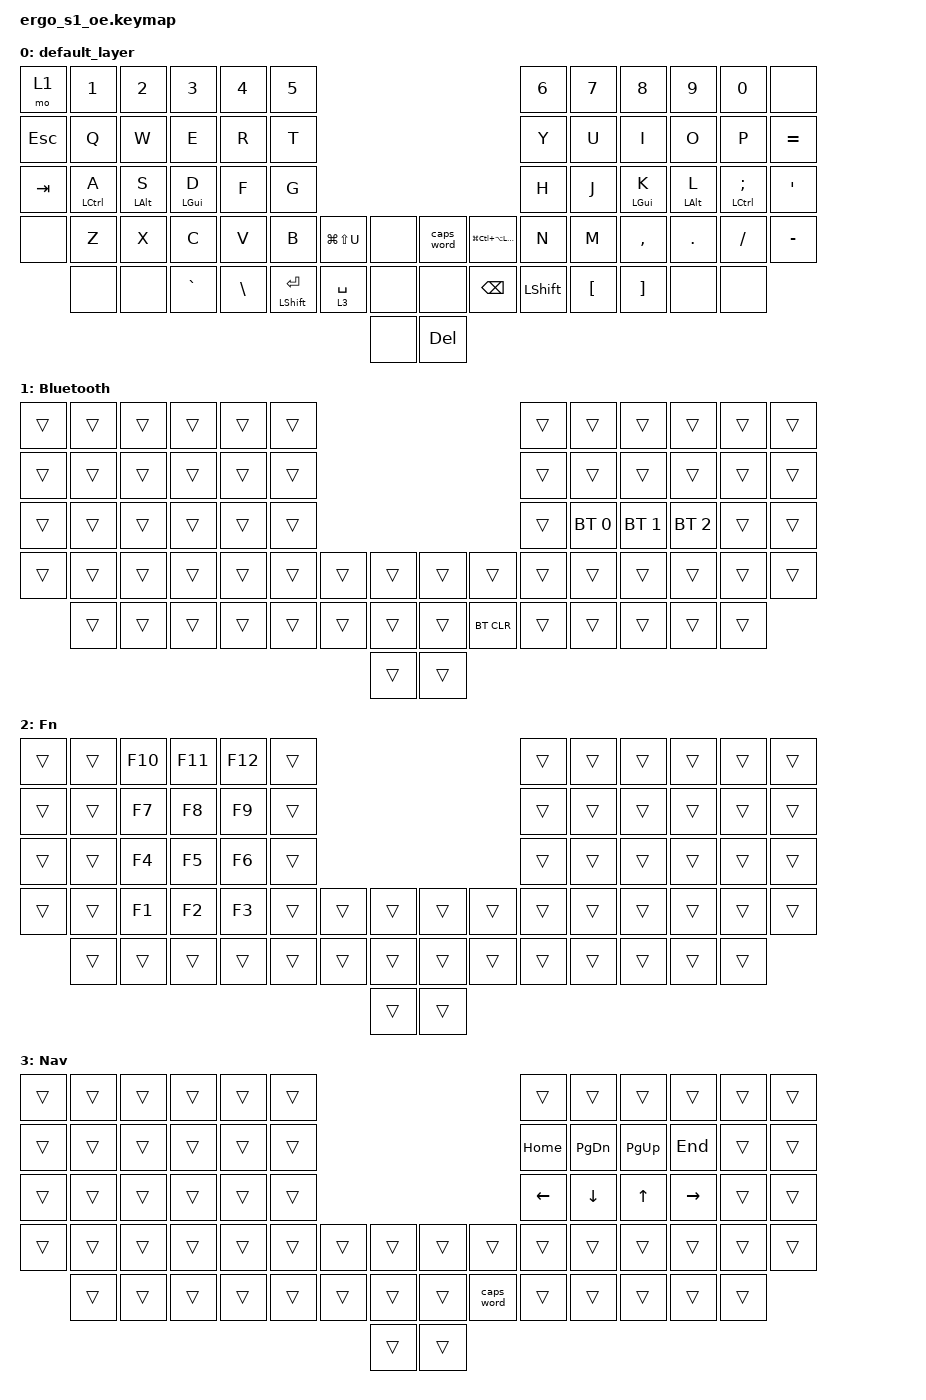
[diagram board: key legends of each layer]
/*
 * Copyright (c) 2021 The ZMK Contributors
 *
 * SPDX-License-Identifier: MIT
 */

#include <behaviors.dtsi>
#include <dt-bindings/zmk/bt.h>
#include <dt-bindings/zmk/keys.h>

#define DEFAULT 0
#define FN  1

/ {
    behaviors {
        hrl: hrl {
            compatible = "zmk,behavior-hold-tap";
            label = "HRL";
            bindings = <&kp>, <&kp>;

            #binding-cells = <2>;
            tapping-term-ms = <280>;
            quick-tap-ms = <175>;
            require-prior-idle-ms = <150>;
            flavor = "balanced";
            hold-trigger-on-release;
            hold-trigger-key-positions = <44 45 59 60 67 61 46 30 18 6 7 8 9 10 11 19 20 21 22 23 31 32 33 34 35 47 48 49 50 51 62 63 64 65 43 42 56 57 58 66>;
        };

        hrr: hrr {
            compatible = "zmk,behavior-hold-tap";
            label = "HRR";
            bindings = <&kp>, <&kp>;

            #binding-cells = <2>;
            tapping-term-ms = <280>;
            quick-tap-ms = <175>;
            require-prior-idle-ms = <150>;
            flavor = "balanced";
            hold-trigger-on-release;
            hold-trigger-key-positions = <0 1 2 3 4 5 12 13 14 15 16 17 24 25 26 27 28 29 36 37 38 39 40 41 42 43 52 53 54 55 56 57 58 66 44 45 60 61 67 59>;
        };

        bkspcapsword: bkspcapsword {
            compatible = "zmk,behavior-mod-morph";
            label = "BKSPCAPSWORD";
            bindings = <&lt 2 BACKSPACE>, <&caps_word>;

            #binding-cells = <0>;
            mods = <(MOD_LSFT|MOD_LGUI)>;
        };
    };

    keymap {
        compatible = "zmk,keymap";

        default_layer {
            // ---------------------------------------------------------------------------------------------------------------------------------
            // | ESC  |  1   |  2   |  3   |  4   |  5   |                                                   |  6   |  7   |  8   |  9   |  0   | BSPC |
            // | WIN  |  Q   |  W   |  E   |  R   |  T   |                                                   |  Y   |  U   |  I   |  O   |  P   | EQL  |
            // | TAB  |  A   |  S   |  D   |  F   |  G   |                                                   |  H   |  J   |  K   |  L   | SCLN | QUOT |
            // | LCTL |  Z   |  X   |  C   |  V   |  B   |      | CTL  | ALT  |         | CAPS | CTL  |      |  N   |  M   | COMM | DOT  | SLSH | MINS |
            //        | GRV  | BSLS | LEFT | RGHT |      | SHFT |  FN  | HOME |         | PGUP | ENT  | SPC  |      |  UP  |  DN  | LBKT | RBKT |
            //                                                         | END  |         | PGDN |

            bindings = <
&mo 1       &kp N1        &kp N2           &kp N3           &kp N4         &kp N5                                                                               &kp N6          &kp N7            &kp N8             &kp N9       &kp N0           &none
&kp ESCAPE  &kp Q         &kp W            &kp E            &kp R          &kp T                                                                                &kp Y           &kp U             &kp I              &kp O        &kp P            &kp EQUAL
&kp TAB     &hrl LCTRL A  &hrl LEFT_ALT S  &hrl LEFT_GUI D  &kp F          &kp G                                                                                &kp H           &kp J             &hrr LEFT_GUI K    &hrr LALT L  &hrr LCTRL SEMI  &kp SQT
&none       &kp Z         &kp X            &kp C            &kp V          &kp B                  &kp LG(LS(U))  &none  &caps_word  &kp LG(LC(LA(LEFT_SHIFT)))  &kp N           &kp M             &kp COMMA          &kp PERIOD   &kp SLASH        &kp MINUS
            &none         &none            &kp GRAVE        &kp BACKSLASH  &mt LEFT_SHIFT RETURN  &lt 3 SPACE    &none  &none       &kp BACKSPACE               &kp LEFT_SHIFT  &kp LEFT_BRACKET  &kp RIGHT_BRACKET  &none        &none
                                                                                                                 &none  &kp DELETE
            >;
        };

        Bluetooth {
            bindings = <
&trans  &trans  &trans  &trans  &trans  &trans                                      &trans  &trans        &trans        &trans        &trans  &trans
&trans  &trans  &trans  &trans  &trans  &trans                                      &trans  &trans        &trans        &trans        &trans  &trans
&trans  &trans  &trans  &trans  &trans  &trans                                      &trans  &bt BT_SEL 0  &bt BT_SEL 1  &bt BT_SEL 2  &trans  &trans
&trans  &trans  &trans  &trans  &trans  &trans  &trans  &trans  &trans  &trans      &trans  &trans        &trans        &trans        &trans  &trans
        &trans  &trans  &trans  &trans  &trans  &trans  &trans  &trans  &bt BT_CLR  &trans  &trans        &trans        &trans        &trans
                                                        &trans  &trans
            >;
        };

        Fn {
            bindings = <
&trans  &trans  &kp F10  &kp F11  &kp F12  &trans                                  &trans  &trans  &trans  &trans  &trans  &trans
&trans  &trans  &kp F7   &kp F8   &kp F9   &trans                                  &trans  &trans  &trans  &trans  &trans  &trans
&trans  &trans  &kp F4   &kp F5   &kp F6   &trans                                  &trans  &trans  &trans  &trans  &trans  &trans
&trans  &trans  &kp F1   &kp F2   &kp F3   &trans  &trans  &trans  &trans  &trans  &trans  &trans  &trans  &trans  &trans  &trans
        &trans  &trans   &trans   &trans   &trans  &trans  &trans  &trans  &trans  &trans  &trans  &trans  &trans  &trans
                                                           &trans  &trans
            >;
        };

        Nav {
            bindings = <
&trans  &trans  &trans  &trans  &trans  &trans                                      &trans    &trans     &trans     &trans     &trans  &trans
&trans  &trans  &trans  &trans  &trans  &trans                                      &kp HOME  &kp PG_DN  &kp PG_UP  &kp END    &trans  &trans
&trans  &trans  &trans  &trans  &trans  &trans                                      &kp LEFT  &kp DOWN   &kp UP     &kp RIGHT  &trans  &trans
&trans  &trans  &trans  &trans  &trans  &trans  &trans  &trans  &trans  &trans      &trans    &trans     &trans     &trans     &trans  &trans
        &trans  &trans  &trans  &trans  &trans  &trans  &trans  &trans  &caps_word  &trans    &trans     &trans     &trans     &trans
                                                        &trans  &trans
            >;
        };
    };
};
